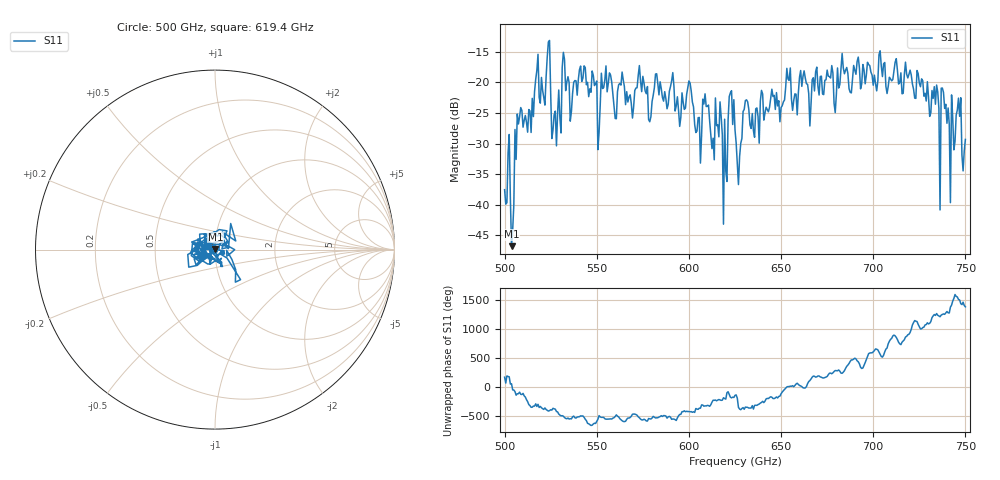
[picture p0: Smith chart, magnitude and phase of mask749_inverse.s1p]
!Created with skrf (http://scikit-rf.org).
# GHz S MA R 50.0
!freq magS11 angS11
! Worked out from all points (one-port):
!   401 points, 500 GHz to 750 GHz, reference 50 ohm
!   lowest |S11| = -46.8 dB at 503.8 GHz (marker M1), VSWR 1.01, Z = 50.3 + j0.383 ohm
!   |S11| at or under -10 dB: start of sweep to end of sweep
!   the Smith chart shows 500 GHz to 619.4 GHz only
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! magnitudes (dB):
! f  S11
! 500 GHz  -37.5
! 503.8 GHz  -46.8
! 508.1 GHz  -25.6
! 523.8 GHz  -13.4
! 526.9 GHz  -25.3
! 531.2 GHz  -17.6
! 548.8 GHz  -20.5
! 550.6 GHz  -31.0
! 562.5 GHz  -20.2
! 593.8 GHz  -22.4
! 600 GHz  -19.8
! 605.6 GHz  -25.7
! 609.4 GHz  -23.9
! 612.5 GHz  -30.8
! 616.9 GHz  -23.2
! 619.4 GHz  -26.0
! 623.1 GHz  -21.4
! 625 GHz  -27.7
! 626.9 GHz  -36.7
! 630.6 GHz  -23.0
! 656.2 GHz  -24.6
! 687.5 GHz  -21.6
! 718.8 GHz  -19.3
! 735 GHz  -21.6
! 738.1 GHz  -21.7
! 743.1 GHz  -25.8
! 746.2 GHz  -22.6
! 750 GHz  -29.3
